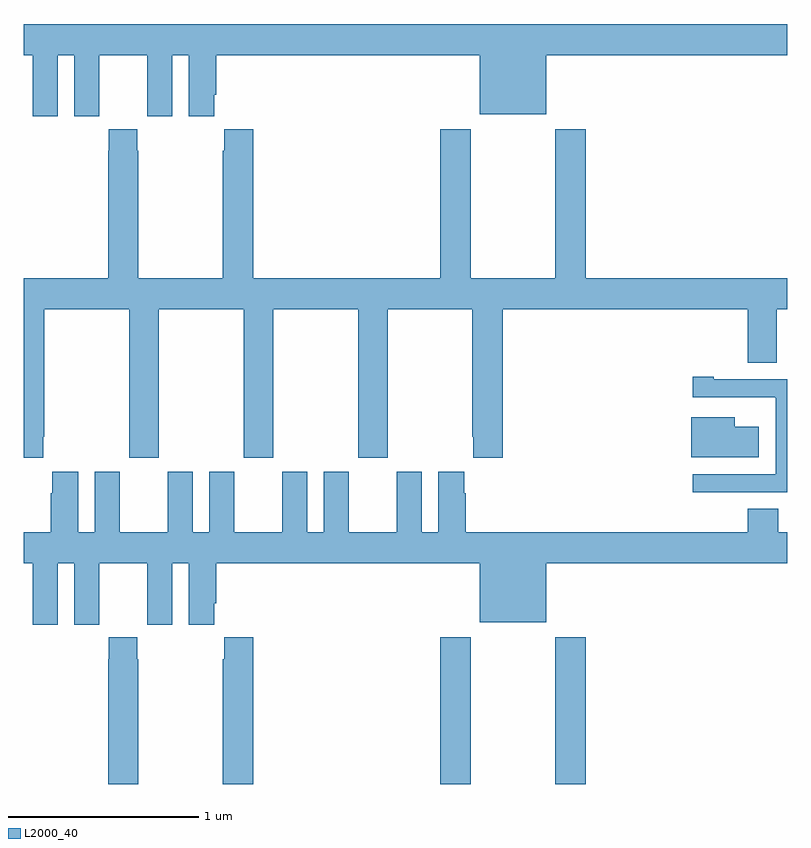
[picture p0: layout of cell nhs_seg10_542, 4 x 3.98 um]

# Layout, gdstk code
import gdstk
lib = gdstk.Library(unit=1e-6, precision=1e-09)
def R(c, l, rs):  # rectangles x0, y0, x1, y1
    for r in rs: c.add(gdstk.rectangle(r[:2], r[2:], *l))
def P(c, l, *ps):  # polygons
    for p in ps: c.add(gdstk.Polygon(p, *l))
L2000_40 = (2000, 40)

nhs_seg10_542 = lib.new_cell('nhs_seg10_542')
R(nhs_seg10_542, L2000_40, [(139.181,1292.5,139.341,1293.268), (139.786,1292.5,139.946,1293.268)])
P(nhs_seg10_542, L2000_40, [(137.176,1296.32),(137.264,1296.32),(137.264,1296),(137.394,1296),(137.394,1296.112),(137.395,1296.112),(137.395,1296.32),(137.645,1296.32),(137.645,1296.112),(137.646,1296.112),(137.646,1296),(137.776,1296),(137.776,1296.32),(137.864,1296.32),(137.864,1296),(137.998,1296),(137.998,1296.112),(138.008,1296.112),(138.008,1296.32),(139.388,1296.32),(139.388,1296.011),(139.738,1296.011),(139.738,1296.32),(141,1296.32),(141,1296.484),(137,1296.484),(137,1296.32),(137.045,1296.32),(137.045,1296.112),(137.046,1296.112),(137.046,1296),(137.176,1296)],
  [(137.101,1294.321),(137.106,1294.321),(137.106,1294.988),(137.551,1294.988),(137.551,1294.209),(137.706,1294.209),(137.706,1294.988),(138.151,1294.988),(138.151,1294.209),(138.306,1294.209),(138.306,1294.988),(138.751,1294.988),(138.751,1294.209),(138.906,1294.209),(138.906,1294.988),(139.351,1294.988),(139.351,1294.321),(139.355,1294.321),(139.355,1294.209),(139.511,1294.209),(139.511,1294.988),(140.795,1294.988),(140.795,1294.708),(140.947,1294.708),(140.947,1294.988),(141,1294.988),(141,1295.152),(139.946,1295.152),(139.946,1295.932),(139.786,1295.932),(139.786,1295.152),(139.341,1295.152),(139.341,1295.932),(139.181,1295.932),(139.181,1295.152),(138.203,1295.152),(138.203,1295.932),(138.049,1295.932),(138.049,1295.819),(138.043,1295.819),(138.043,1295.152),(137.598,1295.152),(137.598,1295.819),(137.595,1295.819),(137.595,1295.932),(137.445,1295.932),(137.445,1295.819),(137.443,1295.819),(137.443,1295.152),(137,1295.152),(137,1294.209),(137.101,1294.209)],
  [(141,1294.623),(140.617,1294.623),(140.617,1294.636),(140.505,1294.636),(140.505,1294.527),(140.939,1294.527),(140.939,1294.526),(140.94,1294.526),(140.94,1294.125),(140.505,1294.125),(140.505,1294.029),(141,1294.029)],
  [(140.851,1294.372),(140.725,1294.372),(140.725,1294.423),(140.498,1294.423),(140.498,1294.214),(140.851,1294.214)],
  [(137.176,1293.656),(137.264,1293.656),(137.264,1293.336),(137.394,1293.336),(137.394,1293.448),(137.395,1293.448),(137.395,1293.656),(137.645,1293.656),(137.645,1293.448),(137.646,1293.448),(137.646,1293.336),(137.776,1293.336),(137.776,1293.656),(137.864,1293.656),(137.864,1293.336),(137.998,1293.336),(137.998,1293.448),(138.008,1293.448),(138.008,1293.656),(139.388,1293.656),(139.388,1293.347),(139.738,1293.347),(139.738,1293.656),(141,1293.656),(141,1293.82),(140.955,1293.82),(140.955,1293.944),(140.795,1293.944),(140.795,1293.82),(139.316,1293.82),(139.316,1294.025),(139.309,1294.025),(139.309,1294.138),(139.172,1294.138),(139.172,1293.82),(139.084,1293.82),(139.084,1294.138),(138.953,1294.138),(138.953,1293.82),(138.703,1293.82),(138.703,1294.138),(138.572,1294.138),(138.572,1293.82),(138.484,1293.82),(138.484,1294.138),(138.353,1294.138),(138.353,1293.82),(138.103,1293.82),(138.103,1294.138),(137.972,1294.138),(137.972,1293.82),(137.884,1293.82),(137.884,1294.138),(137.753,1294.138),(137.753,1293.82),(137.503,1293.82),(137.503,1294.138),(137.372,1294.138),(137.372,1293.82),(137.284,1293.82),(137.284,1294.138),(137.147,1294.138),(137.147,1294.025),(137.141,1294.025),(137.141,1293.82),(137,1293.82),(137,1293.656),(137.045,1293.656),(137.045,1293.448),(137.046,1293.448),(137.046,1293.336),(137.176,1293.336)],
  [(137.598,1293.155),(137.595,1293.155),(137.595,1293.268),(137.445,1293.268),(137.445,1293.155),(137.443,1293.155),(137.443,1292.5),(137.598,1292.5)],
  [(138.203,1293.268),(138.049,1293.268),(138.049,1293.155),(138.043,1293.155),(138.043,1292.5),(138.203,1292.5)])

lib.write_gds('nhs_seg10_542.gds')
